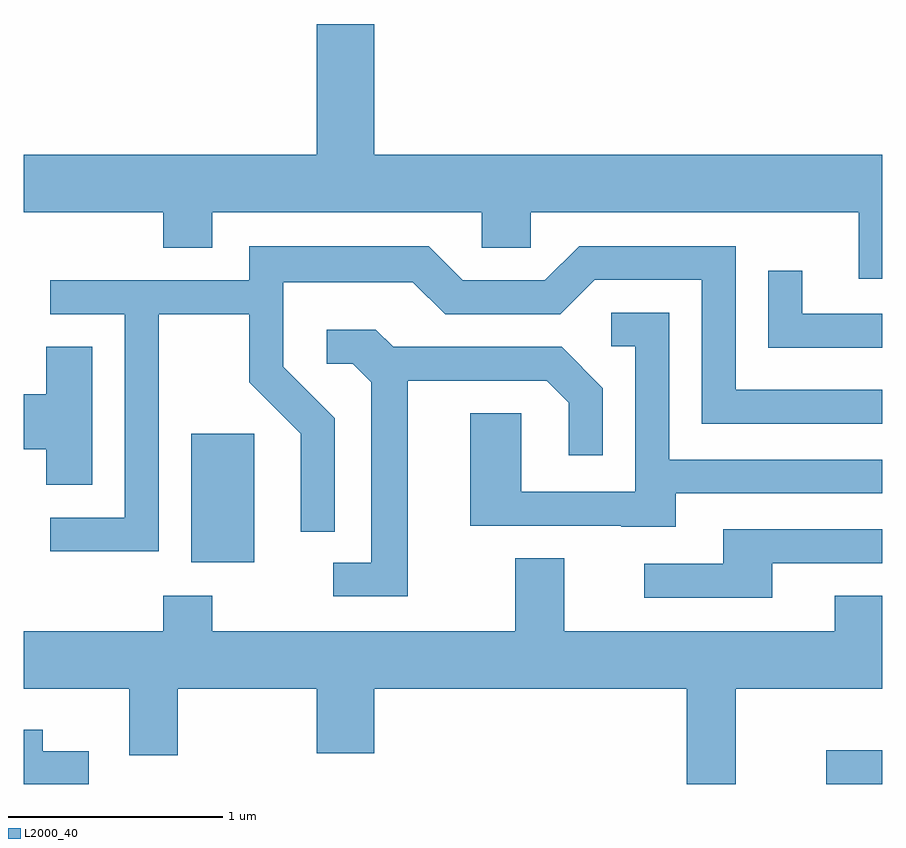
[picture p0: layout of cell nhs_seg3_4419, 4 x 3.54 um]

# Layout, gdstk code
import gdstk
lib = gdstk.Library(unit=1e-6, precision=1e-09)
def R(c, l, rs):  # rectangles x0, y0, x1, y1
    for r in rs: c.add(gdstk.rectangle(r[:2], r[2:], *l))
def P(c, l, *ps):  # polygons
    for p in ps: c.add(gdstk.Polygon(p, *l))
L2000_40 = (2000, 40)

nhs_seg3_4419 = lib.new_cell('nhs_seg3_4419')
R(nhs_seg3_4419, L2000_40, [(317.351,1249.892,317.611,1250.049), (314.391,1250.926,314.684,1251.524)])
P(nhs_seg3_4419, L2000_40, [(314.976,1253.434),(314.976,1252.824),(313.611,1252.824),(313.611,1252.556),(314.261,1252.556),(314.261,1252.391),(314.489,1252.391),(314.489,1252.556),(315.746,1252.556),(315.746,1252.391),(315.974,1252.391),(315.974,1252.556),(317.501,1252.556),(317.501,1252.246),(317.611,1252.246),(317.611,1252.824),(315.244,1252.824),(315.244,1253.434)],
  [(314.239,1252.081),(314.661,1252.081),(314.661,1251.764),(314.901,1251.524),(314.901,1251.068),(315.059,1251.068),(315.059,1251.597),(314.819,1251.837),(314.819,1252.231),(315.424,1252.231),(315.574,1252.081),(316.112,1252.081),(316.272,1252.241),(316.771,1252.241),(316.771,1251.571),(317.611,1251.571),(317.611,1251.729),(316.929,1251.729),(316.929,1252.399),(316.199,1252.399),(316.039,1252.239),(315.657,1252.239),(315.497,1252.399),(314.661,1252.399),(314.661,1252.239),(313.733,1252.239),(313.733,1252.081),(314.081,1252.081),(314.081,1251.134),(313.733,1251.134),(313.733,1250.976),(314.239,1250.976)],
  [(317.611,1252.084),(317.239,1252.084),(317.239,1252.283),(317.081,1252.283),(317.081,1251.926),(317.611,1251.926)],
  [(316.649,1251.246),(317.611,1251.246),(317.611,1251.404),(316.619,1251.404),(316.619,1252.089),(316.348,1252.089),(316.348,1251.931),(316.461,1251.931),(316.461,1251.254),(315.929,1251.254),(315.929,1251.619),(315.691,1251.619),(315.691,1251.096),(316.395,1251.096),(316.395,1251.091),(316.649,1251.091)],
  [(315.399,1251.771),(316.049,1251.771),(316.151,1251.669),(316.151,1251.423),(316.309,1251.423),(316.309,1251.737),(316.117,1251.929),(315.332,1251.929),(315.252,1252.009),(315.023,1252.009),(315.023,1251.851),(315.144,1251.851),(315.231,1251.764),(315.231,1250.924),(315.053,1250.924),(315.053,1250.766),(315.399,1250.766)],
  [(313.929,1251.929),(313.716,1251.929),(313.716,1251.709),(313.611,1251.709),(313.611,1251.451),(313.716,1251.451),(313.716,1251.286),(313.929,1251.286)],
  [(317.099,1250.921),(317.611,1250.921),(317.611,1251.079),(316.871,1251.079),(316.871,1250.919),(316.503,1250.919),(316.503,1250.761),(317.099,1250.761)],
  [(316.929,1250.336),(317.611,1250.336),(317.611,1250.769),(317.391,1250.769),(317.391,1250.604),(316.129,1250.604),(316.129,1250.944),(315.901,1250.944),(315.901,1250.604),(314.489,1250.604),(314.489,1250.769),(314.261,1250.769),(314.261,1250.604),(313.611,1250.604),(313.611,1250.336),(314.101,1250.336),(314.101,1250.026),(314.329,1250.026),(314.329,1250.336),(314.976,1250.336),(314.976,1250.036),(315.244,1250.036),(315.244,1250.336),(316.701,1250.336),(316.701,1249.892),(316.929,1249.892)],
  [(313.914,1250.044),(313.699,1250.044),(313.699,1250.144),(313.611,1250.144),(313.611,1249.892),(313.914,1249.892)])

lib.write_gds('nhs_seg3_4419.gds')
